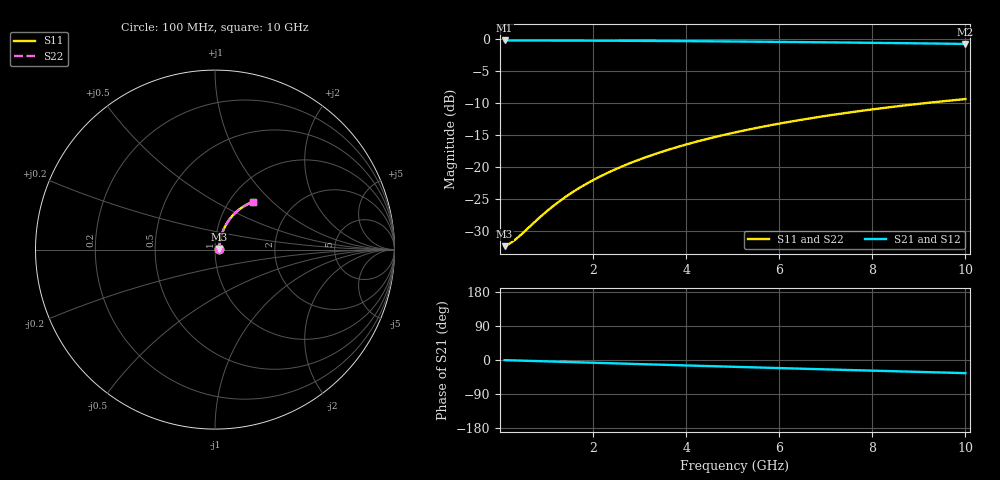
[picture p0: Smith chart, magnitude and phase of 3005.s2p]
# Hz S RI R 50.00
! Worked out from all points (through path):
!   100 points, 100 MHz to 10 GHz, reference 50 ohm
!   highest |S21| = -0.21 dB at 100 MHz (marker M1); lowest = -0.8 dB at 10 GHz (marker M2)
!   group delay of S21, straight-line fit = 9.65 ps
!   lowest |S11| = -32.4 dB at 100 MHz (marker M3), VSWR 1.05, Z = 52.4 + j0.379 ohm
!   |S11| at or under -10 dB: start of sweep to 9.158 GHz
!   |S22| runs from -32.4 to -9.4 dB; largest |S21 - S12| = 0
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1e8  0.0237 0.00362  0.9763 -0.00615  0.9763 -0.00615  0.0237 0.00362
2e8  0.024 0.00723  0.976 -0.0123  0.976 -0.0123  0.024 0.00723
3e8  0.0242 0.0108  0.9758 -0.0184  0.9758 -0.0184  0.0242 0.0108
4e8  0.0244 0.0144  0.9755 -0.0246  0.9755 -0.0246  0.0244 0.0144
9e8  0.0262 0.0324  0.9735 -0.0552  0.9735 -0.0552  0.0262 0.0324
1.2e9  0.0278 0.0431  0.9717 -0.0736  0.9717 -0.0736  0.0278 0.0431
1.5e9  0.0297 0.0537  0.9695 -0.0918  0.9695 -0.0918  0.0297 0.0537
1.8e9  0.0321 0.0643  0.9668 -0.1099  0.9668 -0.1099  0.0321 0.0643
2.1e9  0.0348 0.0747  0.9637 -0.128  0.9637 -0.128  0.0348 0.0747
2.5e9  0.039 0.0884  0.9589 -0.1518  0.9589 -0.1518  0.039 0.0884
2.9e9  0.0439 0.1018  0.9533 -0.1754  0.9533 -0.1754  0.0439 0.1018
3.4e9  0.0508 0.1181  0.9453 -0.2045  0.9453 -0.2045  0.0508 0.1181
3.8e9  0.0571 0.1308  0.9381 -0.2274  0.9381 -0.2274  0.0571 0.1308
4.2e9  0.064 0.1432  0.9301 -0.2499  0.9301 -0.2499  0.064 0.1432
4.6e9  0.0714 0.1551  0.9215 -0.272  0.9215 -0.272  0.0714 0.1551
5.1e9  0.0815 0.1694  0.9099 -0.2991  0.9099 -0.2991  0.0815 0.1694
5.9e9  0.0992 0.1907  0.8892 -0.3408  0.8892 -0.3408  0.0992 0.1907
6.7e9  0.1186 0.21  0.8664 -0.3806  0.8664 -0.3806  0.1186 0.21
7.5e9  0.1396 0.2271  0.8417 -0.4182  0.8417 -0.4182  0.1396 0.2271
8.4e9  0.1646 0.2437  0.8118 -0.4579  0.8118 -0.4579  0.1646 0.2437
9.2e9  0.1878 0.256  0.7838 -0.4908  0.7838 -0.4908  0.1878 0.256
1e10  0.2116 0.2659  0.7546 -0.5214  0.7546 -0.5214  0.2116 0.2659
